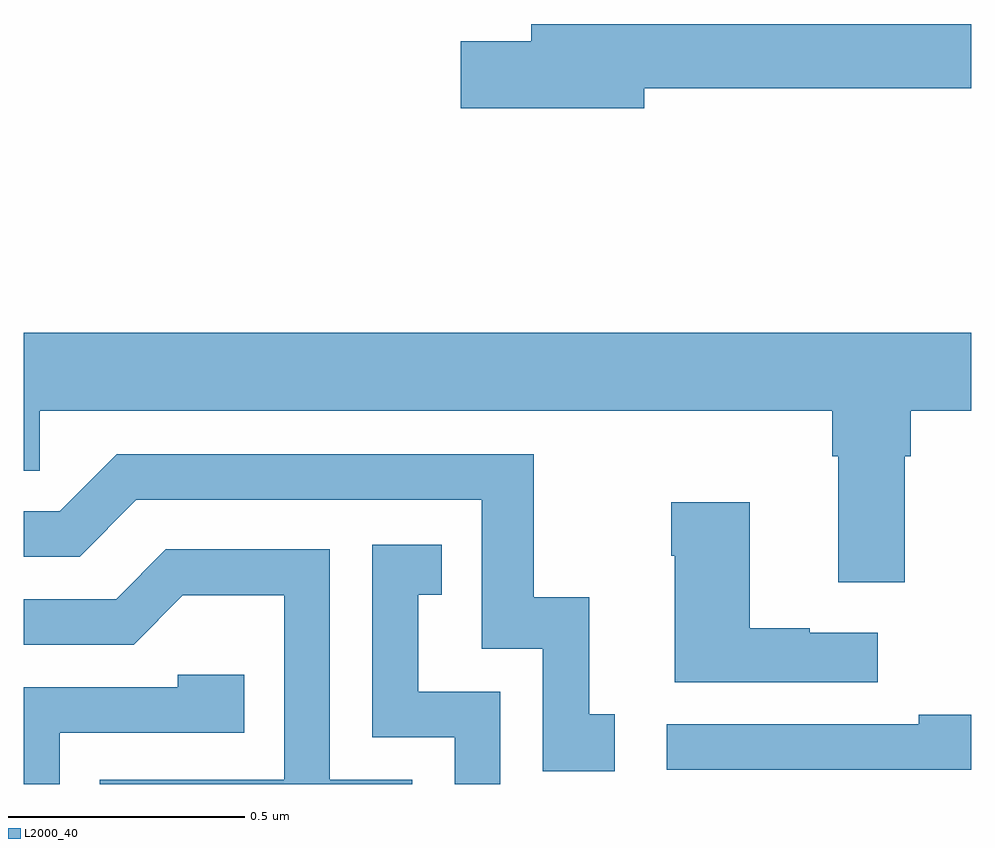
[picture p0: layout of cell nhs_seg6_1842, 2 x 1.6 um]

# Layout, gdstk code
import gdstk
lib = gdstk.Library(unit=1e-6, precision=1e-09)
def P(c, l, *ps):  # polygons
    for p in ps: c.add(gdstk.Polygon(p, *l))
L2000_40 = (2000, 40)

nhs_seg6_1842 = lib.new_cell('nhs_seg6_1842')
P(nhs_seg6_1842, L2000_40, [(135.31,995.968),(136,995.968),(136,996.104),(135.071,996.104),(135.071,996.068),(134.922,996.068),(134.922,995.926),(135.31,995.926)],
  [(135.859,995.192),(135.872,995.192),(135.872,995.288),(136,995.288),(136,995.452),(134,995.452),(134,995.161),(134.034,995.161),(134.034,995.288),(135.707,995.288),(135.707,995.192),(135.719,995.192),(135.719,994.926),(135.859,994.926)],
  [(135.247,994.647),(135.194,994.647),(135.194,994.894),(135.076,994.894),(135.076,995.196),(134.196,995.196),(134.076,995.076),(134,995.076),(134,994.98),(134.118,994.98),(134.238,995.1),(134.967,995.1),(134.967,994.785),(135.096,994.785),(135.096,994.527),(135.247,994.527)],
  [(135.802,994.819),(135.659,994.819),(135.659,994.829),(135.532,994.829),(135.532,995.095),(135.367,995.095),(135.367,994.982),(135.374,994.982),(135.374,994.715),(135.802,994.715)],
  [(135.006,994.695),(134.833,994.695),(134.833,994.899),(134.882,994.899),(134.882,995.005),(134.736,995.005),(134.736,994.599),(134.91,994.599),(134.91,994.5),(135.006,994.5)],
  [(134.82,994.509),(134.646,994.509),(134.646,994.995),(134.3,994.995),(134.195,994.89),(134,994.89),(134,994.794),(134.232,994.794),(134.336,994.898),(134.55,994.898),(134.55,994.509),(134.161,994.509),(134.161,994.5),(134.82,994.5)],
  [(134.076,994.608),(134.465,994.608),(134.465,994.731),(134.325,994.731),(134.325,994.704),(134,994.704),(134,994.5),(134.076,994.5)],
  [(136,994.646),(135.889,994.646),(135.889,994.626),(135.357,994.626),(135.357,994.53),(136,994.53)])

lib.write_gds('nhs_seg6_1842.gds')
